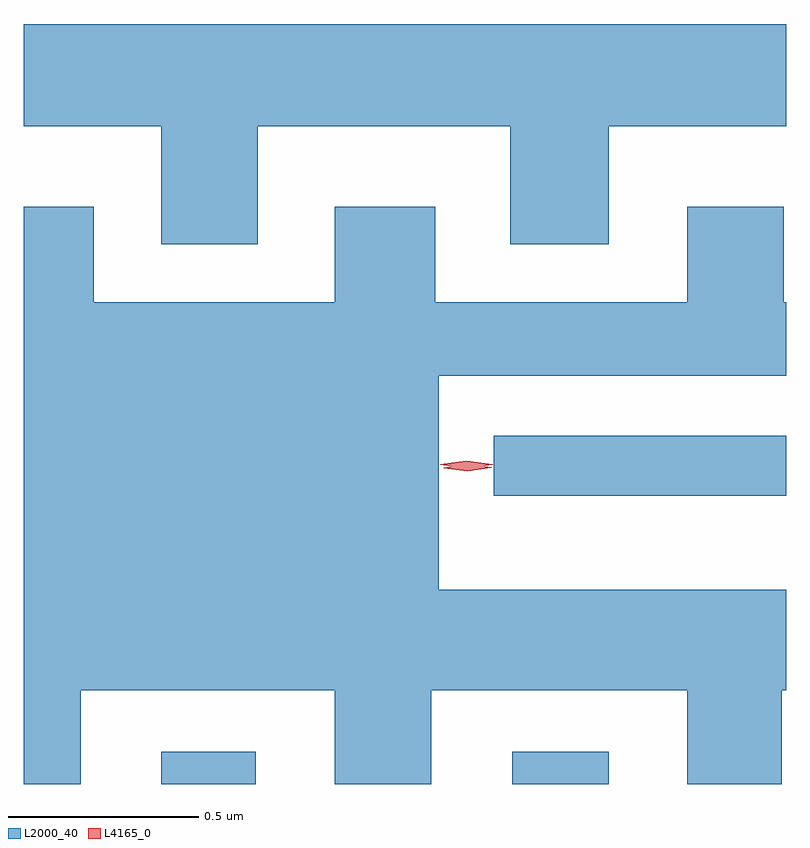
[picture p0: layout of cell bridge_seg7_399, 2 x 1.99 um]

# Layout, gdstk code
import gdstk
lib = gdstk.Library(unit=1e-6, precision=1e-09)
def R(c, l, rs):  # rectangles x0, y0, x1, y1
    for r in rs: c.add(gdstk.rectangle(r[:2], r[2:], *l))
def P(c, l, *ps):  # polygons
    for p in ps: c.add(gdstk.Polygon(p, *l))
L2000_40 = (2000, 40)
L4165_0 = (4165, 0)

bridge_seg7_399 = lib.new_cell('bridge_seg7_399')
R(bridge_seg7_399, L2000_40, [(1126.591,1776.97,1126.839,1777.054), (1127.511,1776.97,1127.764,1777.054), (1127.463,1777.726,1128.23,1777.884)])
P(bridge_seg7_399, L2000_40, [(1126.844,1778.696),(1127.506,1778.696),(1127.506,1778.386),(1127.764,1778.386),(1127.764,1778.696),(1128.23,1778.696),(1128.23,1778.964),(1126.23,1778.964),(1126.23,1778.696),(1126.591,1778.696),(1126.591,1778.386),(1126.844,1778.386)],
  [(1126.379,1777.216),(1127.046,1777.216),(1127.046,1776.97),(1127.299,1776.97),(1127.299,1777.216),(1127.971,1777.216),(1127.971,1776.97),(1128.219,1776.97),(1128.219,1777.216),(1128.23,1777.216),(1128.23,1777.479),(1127.319,1777.479),(1127.319,1778.041),(1128.23,1778.041),(1128.23,1778.234),(1128.224,1778.234),(1128.224,1778.484),(1127.971,1778.484),(1127.971,1778.234),(1127.309,1778.234),(1127.309,1778.484),(1127.046,1778.484),(1127.046,1778.234),(1126.414,1778.234),(1126.414,1778.484),(1126.23,1778.484),(1126.23,1776.97),(1126.379,1776.97)])
P(bridge_seg7_399, L4165_0, [(1127.391,1777.798),(1127.323,1777.808),(1127.322,1777.808),(1127.323,1777.809),(1127.391,1777.818),(1127.46,1777.809),(1127.46,1777.808),(1127.46,1777.808)],
  [(1127.394,1777.79),(1127.332,1777.799),(1127.332,1777.8),(1127.332,1777.8),(1127.394,1777.81),(1127.456,1777.801),(1127.457,1777.8),(1127.456,1777.8)])

lib.write_gds('bridge_seg7_399.gds')
